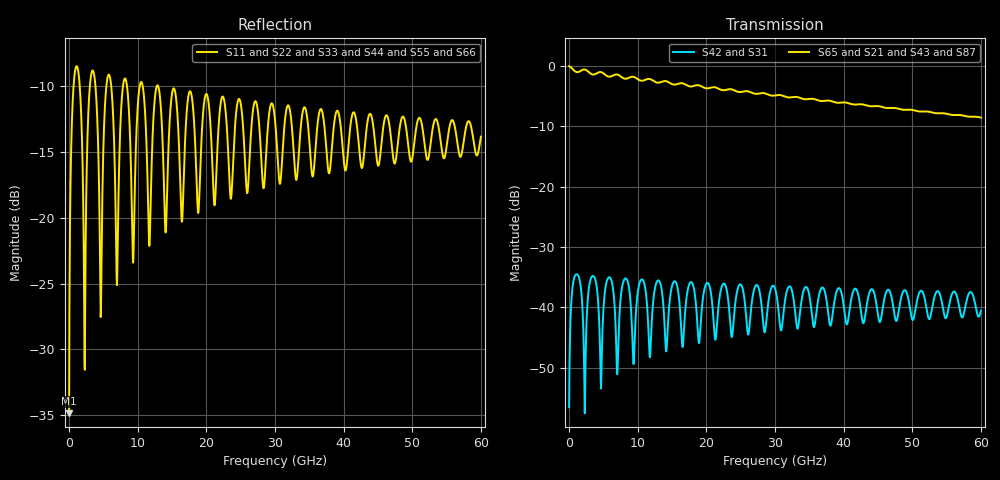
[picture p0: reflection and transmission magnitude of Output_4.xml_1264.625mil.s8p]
# Hz S ri R 50
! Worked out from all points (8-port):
!   1500 points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, 40 MHz to 60 GHz, reference 50 ohm
!   strongest paths, dB at 40 MHz, 15.04 GHz, 30.04 GHz, 45.04 GHz, 60 GHz:
!     S65: -0.1, -3.0, -4.9, -6.7, -8.6
!     S21: 0.0, -3.0, -4.9, -6.7, -8.6
!     S43: -0.1, -3.0, -4.9, -6.7, -8.6
!     S87: 0.0, -3.0, -4.9, -6.7, -8.6
!     S42: -56.6, -36.4, -36.9, -41.5, -40.6
!     S31: -56.6, -36.4, -36.9, -41.5, -40.6
!   lowest |S11| = -34.9 dB at 40 MHz (marker M1), VSWR 1.04, Z = 50.2 - j1.8 ohm
!   |S11| at or under -10 dB: 8.469 GHz to 10.31 GHz (1.844 GHz wide, 19.6 % of centre); 10.76 GHz to 12.79 GHz (2.033 GHz wide, 17.3 % of centre); 13.01 GHz to end of sweep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
